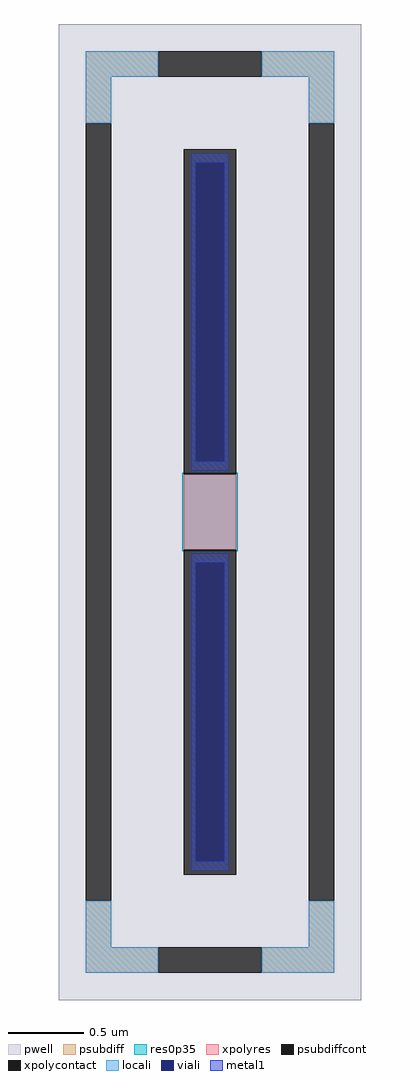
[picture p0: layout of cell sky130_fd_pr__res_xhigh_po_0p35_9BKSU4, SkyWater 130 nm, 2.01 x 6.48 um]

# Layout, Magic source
magic
tech sky130A
magscale 1 2
<< pwell >>
rect -201 -648 201 648
<< psubdiff >>
rect -165 578 -69 612
rect 69 578 165 612
rect -165 516 -131 578
rect 131 516 165 578
rect -165 -578 -131 -516
rect 131 -578 165 -516
rect -165 -612 -69 -578
rect 69 -612 165 -578
<< psubdiffcont >>
rect -69 578 69 612
rect -165 -516 -131 516
rect 131 -516 165 516
rect -69 -612 69 -578
<< xpolycontact >>
rect -35 50 35 482
rect -35 -482 35 -50
<< xpolyres >>
rect -35 -50 35 50
<< locali >>
rect -165 578 -69 612
rect 69 578 165 612
rect -165 516 -131 578
rect 131 516 165 578
rect -165 -578 -131 -516
rect 131 -578 165 -516
rect -165 -612 -69 -578
rect 69 -612 165 -578
<< viali >>
rect -19 67 19 464
rect -19 -464 19 -67
<< metal1 >>
rect -25 464 25 476
rect -25 67 -19 464
rect 19 67 25 464
rect -25 55 25 67
rect -25 -67 25 -55
rect -25 -464 -19 -67
rect 19 -464 25 -67
rect -25 -476 25 -464
<< res0p35 >>
rect -37 -52 37 52
<< properties >>
string FIXED_BBOX -148 -595 148 595
string gencell sky130_fd_pr__res_xhigh_po_0p35
string library sky130
string parameters w 0.35 l 0.5 m 1 nx 1 wmin 0.350 lmin 0.50 rho 2000 val 3.932k dummy 0 dw 0.0 term 188.2 sterm 0.0 caplen 0 wmax 0.350 guard 1 glc 1 grc 1 gtc 1 gbc 1 compatible {sky130_fd_pr__res_xhigh_po_0p35  sky130_fd_pr__res_xhigh_po_0p69 sky130_fd_pr__res_xhigh_po_1p41  sky130_fd_pr__res_xhigh_po_2p85 sky130_fd_pr__res_xhigh_po_5p73} snake 1 full_metal 1 n_guard 0 hv_guard 0 vias 1 viagb 0 viagt 0 viagl 0 viagr 0
<< end >>
